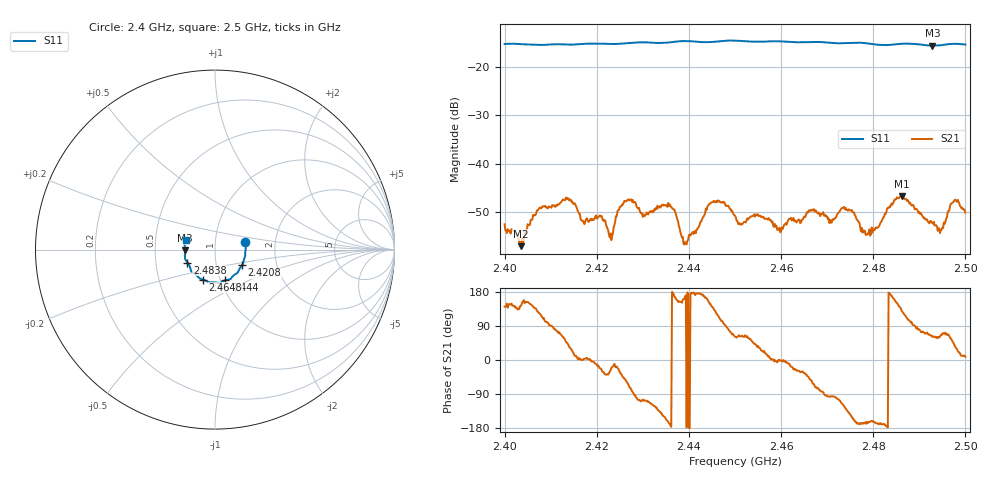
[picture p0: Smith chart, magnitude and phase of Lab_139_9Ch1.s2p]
# Hz S RI R 50
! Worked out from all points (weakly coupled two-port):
!   601 points, 2.4 GHz to 2.5 GHz, reference 50 ohm
!   highest |S21| = -46.65 dB at 2.4862 GHz (marker M1); lowest = -57.1 dB at 2.4035 GHz (marker M2)
!   lowest |S11| = -15.6 dB at 2.4928 GHz (marker M3), VSWR 1.40, Z = 35.8 - j0.346 ohm
!   |S11| at or under -10 dB: start of sweep to end of sweep
!   S12 and S22 are empty: the file has one direction only
!   S11 on the Smith chart (normalised r, x): 2.4 GHz: 1.40, +0.12; 2.4208 GHz: 1.33, -0.24; 2.444 GHz: 1.06, -0.37; 2.4648 GHz: 0.83, -0.29; 2.4838 GHz: 0.73, -0.11; 2.5 GHz: 0.72, +0.08
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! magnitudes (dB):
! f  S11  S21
! 2.4 GHz  -15.3  -52.5
! 2.4035 GHz  -15.3  -57.1
! 2.408 GHz  -15.4  -49.2
! 2.4138 GHz  -15.4  -47.3
! 2.4167 GHz  -15.2  -51.7
! 2.4208 GHz  -15.2  -50.9
! 2.423 GHz  -15.2  -54.4
! 2.4263 GHz  -15.1  -47.8
! 2.4333 GHz  -15.0  -49.1
! 2.4363 GHz  -14.9  -49.2
! 2.4393 GHz  -14.6  -56.5
! 2.444 GHz  -14.9  -48.9
! 2.45 GHz  -14.5  -50.7
! 2.4648 GHz  -14.9  -51.3
! 2.4667 GHz  -14.8  -49.7
! 2.4752 GHz  -15.0  -49.7
! 2.4788 GHz  -15.1  -54.4
! 2.4833 GHz  -15.4  -49.2
! 2.4838 GHz  -15.4  -48.5
! 2.4862 GHz  -15.2  -46.6
! 2.4928 GHz  -15.6  -52.3
! 2.5 GHz  -15.4  -50.1
